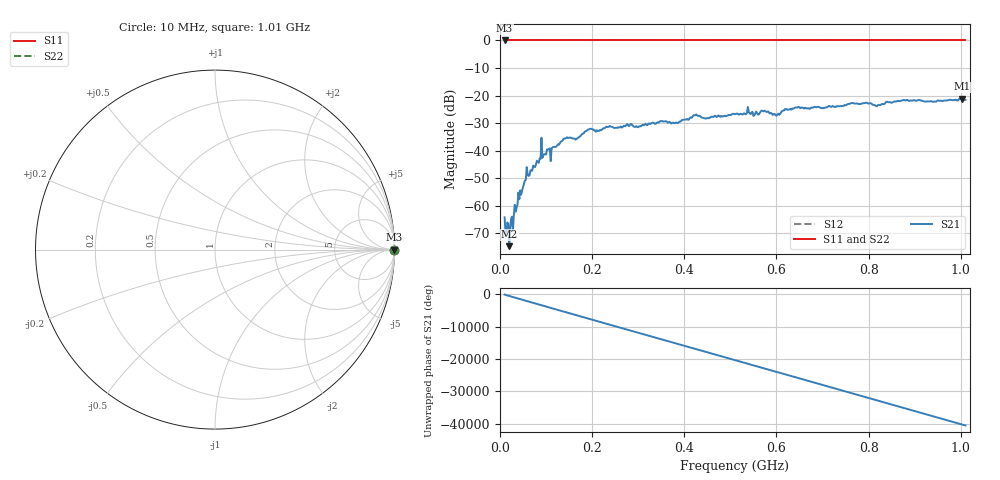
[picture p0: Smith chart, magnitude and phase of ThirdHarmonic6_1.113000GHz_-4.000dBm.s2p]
! 8/16/2025 10:36:36 AM
! C:\ANRITSUVNA\TEMP\TEMP.S2P
! CHANNEL.1
! TR.MEASUREMENT
! RAW.DATA
! RF.CORRECTION.OFF
! AVERAGING.OFF
! IF.BANDWIDTH: 5KHZ
! SWEEPTYPE:  FREQ.SWEEP(Linear)
! Reference Plane Port Info
! PORT:  PORT1  PORT2
! DISTANCE:  0  m  0  m
! TIME:  0  s  0  s
! PHASE.OFFSET:  0  deg.  0  deg.
! LOSS:  0  dB  0  dB
! REF.LOSS:  0  dB  0  dB
! REF.FREQ:  0  Hz  0  Hz
! Power Info
! POWER:  -20  dBm  -20  dBm
! EFF.POWER:  -20  dBm  -20  dBm
! SOURCE.ATTEN:  0  dB  0  dB
! TEST.ATTEN:  0  dB  0  dB
# GHZ S RI R 50.0
! FREQ.GHZ  S11RE  S11IM  S21RE  S21IM  S12RE  S12IM  S22RE  S22IM
!; PortSelection: Port_12
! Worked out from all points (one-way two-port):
!   501 points, 10 MHz to 1.01 GHz, reference 50 ohm
!   highest |S21| = -21.20 dB at 1.002 GHz (marker M1); lowest = -74.7 dB at 20 MHz (marker M2)
!   lowest |S11| = 0.0 dB at 10 MHz (marker M3)
!   |S11| at or under -10 dB: nowhere
!   |S22| runs from 0.0 to 0.0 dB; largest |S21 - S12| = 1.1
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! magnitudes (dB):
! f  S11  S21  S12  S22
! 10 MHz  0.0  -64.2  0.0  0.0
! 16 MHz  0.0  -66.1  0.0  0.0
! 20 MHz  0.0  -74.7  0.0  0.0
! 24 MHz  0.0  -64.8  0.0  0.0
! 36 MHz  0.0  -60.7  0.0  0.0
! 56 MHz  0.0  -50.7  0.0  0.0
! 80 MHz  0.0  -43.7  0.0  0.0
! 86 MHz  0.0  -42.9  0.0  0.0
! 142 MHz  0.0  -35.6  0.0  0.0
! 178 MHz  0.0  -34.0  0.0  0.0
! 196 MHz  0.0  -32.1  0.0  0.0
! 344 MHz  0.0  -29.9  0.0  0.0
! 384 MHz  0.0  -29.9  0.0  0.0
! 424 MHz  0.0  -27.1  0.0  0.0
! 510 MHz  0.0  -26.8  0.0  0.0
! 572 MHz  0.0  -25.8  0.0  0.0
! 602 MHz  0.0  -27.0  0.0  0.0
! 620 MHz  0.0  -25.1  0.0  0.0
! 678 MHz  0.0  -24.4  0.0  0.0
! 844 MHz  0.0  -22.4  0.0  0.0
! 1.002 GHz  0.0  -21.2  0.0  0.0
! 1.01 GHz  0.0  -21.6  0.0  0.0
